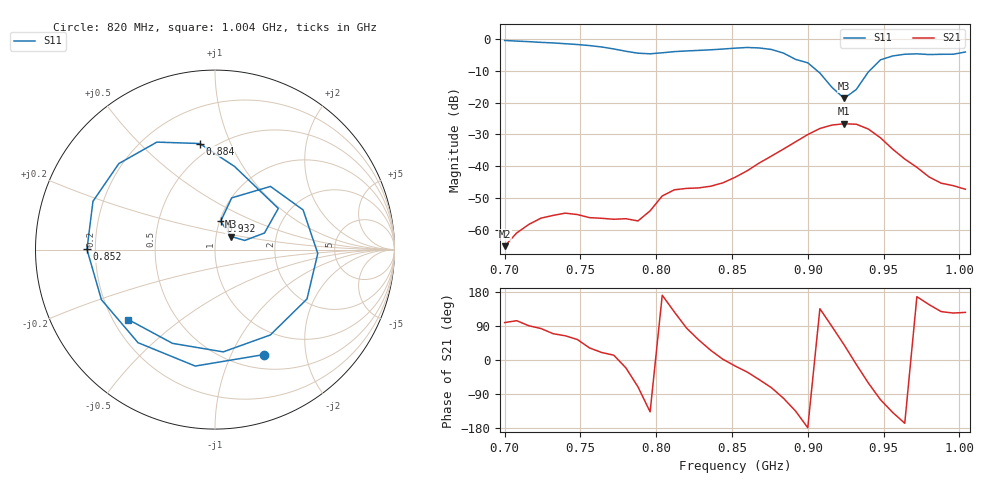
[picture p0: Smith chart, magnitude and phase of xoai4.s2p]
# Hz S RI R 50
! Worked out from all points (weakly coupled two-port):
!   39 points, 700 MHz to 1.004 GHz, reference 50 ohm
!   highest |S21| = -26.64 dB at 924 MHz (marker M1); lowest = -65.0 dB at 700 MHz (marker M2)
!   lowest |S11| = -18.7 dB at 924 MHz (marker M3), VSWR 1.26, Z = 59.3 + j8.76 ohm
!   |S11| at or under -10 dB: 906.2 MHz to 940.8 MHz (34.6 MHz wide, 3.75 % of centre)
!   S12 and S22 are empty: the file has one direction only
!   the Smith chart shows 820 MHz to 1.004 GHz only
!   S11 on the Smith chart (normalised r, x): 820 MHz: 0.67, -1.34; 852 MHz: 0.17, +0.00; 884 MHz: 0.42, +0.77; 932 MHz: 1.01, +0.33; 1.004 GHz: 0.26, -0.33
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7e8  0.761 0.5558  -8.55e-05 0.000555  0 0  0 0
7.24e8  0.8432 -0.249  0.000187 0.00153  0 0  0 0
7.4e8  0.4555 -0.7035  0.000812 0.00166  0 0  0 0
7.56e8  -0.1937 -0.7596  0.00133 0.000831  0 0  0 0
7.72e8  -0.6657 -0.1956  0.00145 0.000326  0 0  0 0
7.8e8  -0.5938 0.2329  0.00142 -0.000535  0 0  0 0
7.88e8  -0.2431 0.5432  0.000456 -0.00132  0 0  0 0
7.96e8  0.2471 0.527  -0.00147 -0.00137  0 0  0 0
8.04e8  0.579 0.1717  -0.0034 0.00054  0 0  0 0
8.2e8  0.2727 -0.5849  0.000451 0.00449  0 0  0 0
8.36e8  -0.429 -0.5186  0.00441 0.0021  0 0  0 0
8.52e8  -0.7134 0.00133  0.00648 -0.00182  0 0  0 0
8.68e8  -0.5357 0.4793  0.00697 -0.00889  0 0  0 0
8.84e8  -0.0851 0.591  -0.00358 -0.0184  0 0  0 0
9e8  0.3526 0.2294  -0.0315 -0.000689  0 0  0 0
9.08e8  0.2756 0.0924  -0.028 0.0276  0 0  0 0
9.24e8  0.0911 0.0729  0.0357 0.0298  0 0  0 0
9.32e8  0.0313 0.1576  0.0449 -0.00919  0 0  0 0
9.48e8  0.3093 0.352  -0.00721 -0.0271  0 0  0 0
9.56e8  0.491 0.2208  -0.0139 -0.0124  0 0  0 0
9.8e8  0.308 -0.4757  -0.00569 0.0038  0 0  0 0
1.004e9  -0.4832 -0.3897  -0.00255 0.00356  0 0  0 0
